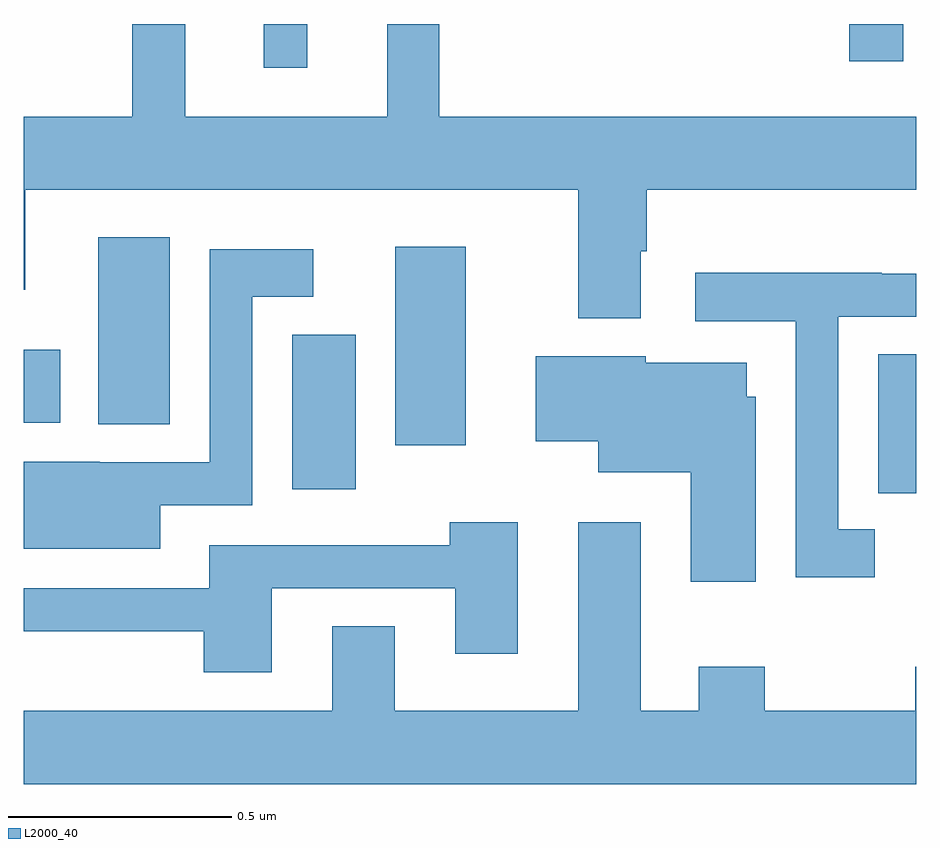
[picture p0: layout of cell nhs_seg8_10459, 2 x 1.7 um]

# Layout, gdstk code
import gdstk
lib = gdstk.Library(unit=1e-6, precision=1e-09)
def R(c, l, rs):  # rectangles x0, y0, x1, y1
    for r in rs: c.add(gdstk.rectangle(r[:2], r[2:], *l))
def P(c, l, *ps):  # polygons
    for p in ps: c.add(gdstk.Polygon(p, *l))
L2000_40 = (2000, 40)

nhs_seg8_10459 = lib.new_cell('nhs_seg8_10459')
R(nhs_seg8_10459, L2000_40, [(251.915,1087.848,252,1088.159), (250.601,1087.857,250.744,1088.203), (250.832,1087.956,250.99,1088.401), (250.166,1088.003,250.327,1088.422), (250,1088.006,250.081,1088.17), (250.538,1088.802,250.635,1088.9), (251.85,1088.817,251.971,1088.9)])
P(nhs_seg8_10459, L2000_40, [(251.383,1088.39),(251.396,1088.39),(251.396,1088.528),(252,1088.528),(252,1088.692),(250.931,1088.692),(250.931,1088.9),(250.814,1088.9),(250.814,1088.692),(250.361,1088.692),(250.361,1088.9),(250.243,1088.9),(250.243,1088.692),(250,1088.692),(250,1088.304),(250.003,1088.304),(250.003,1088.528),(251.243,1088.528),(251.243,1088.24),(251.383,1088.24)],
  [(250.306,1087.821),(250.512,1087.821),(250.512,1088.288),(250.648,1088.288),(250.648,1088.395),(250.416,1088.395),(250.416,1087.917),(250.17,1087.917),(250.17,1087.918),(250,1087.918),(250,1087.724),(250.306,1087.724)],
  [(251.908,1087.767),(251.826,1087.767),(251.826,1088.244),(252,1088.244),(252,1088.34),(251.923,1088.34),(251.923,1088.342),(251.505,1088.342),(251.505,1088.234),(251.73,1088.234),(251.73,1087.659),(251.908,1087.659)],
  [(251.641,1088.064),(251.62,1088.064),(251.62,1088.14),(251.394,1088.14),(251.394,1088.155),(251.147,1088.155),(251.147,1087.964),(251.288,1087.964),(251.288,1087.895),(251.495,1087.895),(251.495,1087.65),(251.641,1087.65)],
  [(250.555,1087.635),(250.967,1087.635),(250.967,1087.488),(251.107,1087.488),(251.107,1087.783),(250.955,1087.783),(250.955,1087.731),(250.415,1087.731),(250.415,1087.635),(250,1087.635),(250,1087.538),(250.403,1087.538),(250.403,1087.446),(250.555,1087.446)],
  [(252,1087.459),(251.998,1087.459),(251.998,1087.36),(251.661,1087.36),(251.661,1087.459),(251.513,1087.459),(251.513,1087.36),(251.383,1087.36),(251.383,1087.783),(251.243,1087.783),(251.243,1087.36),(250.831,1087.36),(250.831,1087.55),(250.691,1087.55),(250.691,1087.36),(250,1087.36),(250,1087.196),(252,1087.196)])

lib.write_gds('nhs_seg8_10459.gds')
